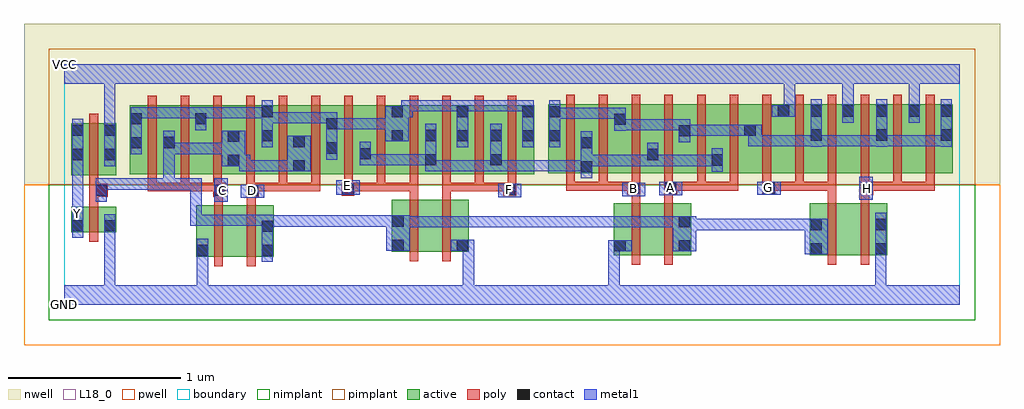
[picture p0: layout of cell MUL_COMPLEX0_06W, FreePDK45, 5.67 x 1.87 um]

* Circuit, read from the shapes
.subckt MUL_COMPLEX0_06W A B C D E F G GND H VCC Y
M1 GND n1 Y VSUBS nfet w=0.15u l=0.05u
M2 n2 C GND VSUBS nfet w=0.3u l=0.05u
M3 n1 D n2 VSUBS nfet w=0.3u l=0.05u
M4 n3 E n1 VSUBS nfet w=0.3u l=0.05u
M5 GND F n3 VSUBS nfet w=0.3u l=0.05u
M6 n4 B GND VSUBS nfet w=0.3u l=0.05u
M7 n1 A n4 VSUBS nfet w=0.3u l=0.05u
M8 n5 G n1 VSUBS nfet w=0.3u l=0.05u
M9 GND H n5 VSUBS nfet w=0.3u l=0.05u
M10 VCC n1 Y n6 pfet w=0.3u l=0.05u
M11 n1 C n7 n6 pfet w=0.4u l=0.05u m=3
M12 n7 D n1 n6 pfet w=0.4u l=0.05u m=3
M13 n8 E n7 n6 pfet w=0.4u l=0.05u m=3
M14 n7 F n8 n6 pfet w=0.4u l=0.05u m=3
M15 n8 B n9 n6 pfet w=0.4u l=0.05u m=3
M16 n9 A n8 n6 pfet w=0.4u l=0.05u m=3
M17 VCC G n9 n6 pfet w=0.4u l=0.05u m=3
M18 n9 H VCC n6 pfet w=0.4u l=0.05u m=3
.ends

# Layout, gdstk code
import gdstk
lib = gdstk.Library(unit=1e-6, precision=1e-09)
def R(c, l, rs):  # rectangles x0, y0, x1, y1
    for r in rs: c.add(gdstk.rectangle(r[:2], r[2:], *l))
def A(c, l, x, y, w, h, nx, ny, dx, dy):  # array of equal rectangles
    R(c, l, [(x+i*dx, y+j*dy, x+i*dx+w, y+j*dy+h) for i in range(nx) for j in range(ny)])
active = (1, 0)
pwell = (2, 0)
nwell = (3, 0)
nimplant = (4, 0)
pimplant = (5, 0)
poly = (9, 0)
contact = (10, 0)
metal1 = (11, 0)
L18_0 = (18, 0)
boundary = (235, 0)

mul_complex0_06w = lib.new_cell('MUL_COMPLEX0_06W')
A(mul_complex0_06w, active, 0.57, 0.76, 0.26, 0.4, 3, 1, 0.57, 0)
A(mul_complex0_06w, active, 1.515, 0.76, 0.27, 0.4, 3, 1, 0.38, 0)
A(mul_complex0_06w, active, 1.71, 0.76, 0.075, 0.31, 3, 1, 0.38, 0)
A(mul_complex0_06w, active, 1.895, 0.76, 0.075, 0.4, 3, 1, 0.38, 0)
R(mul_complex0_06w, active, [(0.765,0.28,0.84,0.58), (0.765,0.28,0.99,0.58), (0.99,0.28,1.215,0.58), (1.14,0.28,1.215,0.58), (3.19,0.29,3.265,0.59), (3.19,0.29,3.415,0.59), (3.415,0.29,3.64,0.59), (3.565,0.29,3.64,0.59), (4.33,0.29,4.405,0.59), (4.33,0.29,4.555,0.59), (4.555,0.29,4.78,0.59), (4.705,0.29,4.78,0.59), (1.9,0.31,1.975,0.61), (1.9,0.31,2.125,0.61), (2.125,0.31,2.35,0.61), (2.275,0.31,2.35,0.61), (0.04,0.422,0.115,0.572), (0.04,0.422,0.3,0.572), (0.225,0.422,0.3,0.572), (0.04,0.755,0.115,1.055), (0.04,0.755,0.3,1.055), (0.225,0.755,0.3,1.055), (0.38,0.76,0.645,1.16), (0.38,0.76,0.455,1.155), (0.57,0.76,0.645,1.07), (0.755,0.76,1.02,1.16), (0.755,0.76,0.83,1.155), (0.945,0.76,1.215,1.16), (0.945,0.76,1.02,1.07), (1.14,0.76,1.215,1.16), (1.325,0.76,1.59,1.16), (1.325,0.76,1.4,1.07), (1.515,0.76,1.59,1.155), (2.09,0.76,2.35,1.16), (2.47,0.76,2.73,1.16), (2.81,0.765,3.07,1.165), (2.81,0.765,2.885,1.16), (2.995,0.765,3.265,1.165), (2.995,0.765,3.07,1.07), (3.19,0.765,3.455,1.165), (3.38,0.765,3.64,1.165), (3.565,0.765,3.83,1.165), (3.755,0.765,4.02,1.165), (3.945,0.765,4.215,1.165), (4.14,0.765,4.405,1.165), (4.33,0.765,4.59,1.165), (4.515,0.765,4.785,1.165), (4.71,0.765,4.975,1.165), (4.9,0.765,5.16,1.165), (5.085,0.765,5.16,1.165), (3.755,0.805,3.83,1.07), (3.38,0.837,3.455,1.07), (3.19,0.907,3.265,1.155), (3.565,0.907,3.64,1.155), (3.945,0.907,4.02,1.165), (4.14,0.907,4.215,1.165), (4.33,0.907,4.405,1.165), (4.515,0.907,4.59,1.165), (4.71,0.907,4.785,1.165), (4.9,0.907,4.975,1.165)])
R(mul_complex0_06w, pwell, [(-0.235,-0.235,5.435,0.7)])
R(mul_complex0_06w, nwell, [(-0.235,0.7,5.435,1.635)])
R(mul_complex0_06w, nimplant, [(-0.09,-0.09,5.29,0.7)])
R(mul_complex0_06w, pimplant, [(-0.09,0.7,5.29,1.49)])
A(mul_complex0_06w, poly, 3.485, 0.64, 0.075, 0.075, 3, 1, 0.57, 0)
A(mul_complex0_06w, poly, 0.485, 0.66, 0.05, 0.095, 12, 1, 0.19, 0)
A(mul_complex0_06w, poly, 0.485, 0.66, 0.05, 0.05, 3, 1, 0.19, 0)
A(mul_complex0_06w, poly, 0.675, 0.66, 0.24, 0.05, 3, 1, 0.57, 0)
A(mul_complex0_06w, poly, 2.005, 0.66, 0.05, 0.05, 3, 1, 0.19, 0)
A(mul_complex0_06w, poly, 2.915, 0.665, 0.05, 0.095, 12, 1, 0.19, 0)
A(mul_complex0_06w, poly, 3.51, 0.665, 0.215, 0.05, 3, 1, 0.57, 0)
A(mul_complex0_06w, poly, 3.675, 0.665, 0.24, 0.05, 3, 1, 0.57, 0)
A(mul_complex0_06w, poly, 0.485, 0.705, 0.05, 0.51, 12, 1, 0.19, 0)
A(mul_complex0_06w, poly, 2.915, 0.71, 0.05, 0.51, 12, 1, 0.19, 0)
R(mul_complex0_06w, poly, [(0.87,0.225,0.92,0.635), (1.06,0.225,1.11,0.635), (3.295,0.235,3.345,0.645), (3.485,0.235,3.535,0.645), (4.435,0.235,4.485,0.645), (4.625,0.235,4.675,0.645), (2.005,0.255,2.055,0.665), (2.195,0.255,2.245,0.665), (0.145,0.367,0.195,0.627), (0.145,0.577,0.195,0.68), (0.87,0.585,0.92,0.68), (1.06,0.585,1.11,0.68), (3.295,0.595,3.345,0.69), (3.485,0.595,3.535,0.69), (4.435,0.595,4.485,0.715), (4.625,0.595,4.675,0.69), (2.005,0.615,2.055,0.71), (2.195,0.615,2.245,0.71), (0.145,0.63,0.252,0.705), (0.865,0.63,0.94,0.71), (1.055,0.63,1.13,0.71), (1.61,0.635,1.685,0.71), (2.55,0.635,2.625,0.71), (3.27,0.64,3.345,0.715), (0.145,0.655,0.195,0.75), (0.485,0.66,0.535,0.71), (0.485,0.66,0.535,0.71), (0.485,0.66,0.725,0.71), (0.865,0.66,0.915,0.71), (1.08,0.66,1.13,0.71), (1.08,0.66,1.13,0.71), (1.08,0.66,1.295,0.71), (1.245,0.66,1.295,0.71), (1.435,0.66,1.485,0.71), (1.435,0.66,1.485,0.71), (1.435,0.66,1.485,0.71), (1.635,0.66,1.685,0.71), (1.635,0.66,1.685,0.71), (1.635,0.66,1.865,0.71), (1.815,0.66,1.865,0.71), (2.005,0.66,2.055,0.71), (2.005,0.66,2.055,0.71), (2.195,0.66,2.435,0.71), (2.385,0.66,2.435,0.71), (2.385,0.66,2.435,0.71), (2.385,0.66,2.6,0.71), (2.55,0.66,2.6,0.71), (2.55,0.66,2.6,0.71), (2.915,0.665,2.965,0.715), (2.915,0.665,2.965,0.715), (2.915,0.665,2.965,0.715), (2.915,0.665,3.155,0.715), (3.105,0.665,3.155,0.715), (3.105,0.665,3.155,0.715), (3.105,0.665,3.155,0.715), (3.105,0.665,3.32,0.715), (3.51,0.665,3.56,0.715), (3.51,0.665,3.56,0.715), (3.675,0.665,3.725,0.715), (3.865,0.665,3.915,0.715), (3.865,0.665,3.915,0.715), (3.865,0.665,3.915,0.715), (4.08,0.665,4.13,0.715), (4.08,0.665,4.13,0.715), (4.245,0.665,4.295,0.715), (4.435,0.665,4.485,0.715), (4.435,0.665,4.485,0.715), (4.435,0.665,4.485,0.715), (4.65,0.665,4.7,0.715), (4.65,0.665,4.7,0.715), (4.815,0.665,4.865,0.715), (5.005,0.665,5.055,0.715), (5.005,0.665,5.055,0.715), (5.005,0.665,5.055,0.715), (0.145,0.7,0.195,1.11)])
A(mul_complex0_06w, contact, 3.49, 0.645, 0.065, 0.065, 3, 1, 0.57, 0)
A(mul_complex0_06w, contact, 1.9, 0.95, 0.065, 0.065, 3, 2, 0.38, 0.14)
R(mul_complex0_06w, contact, [(0.77,0.285,0.835,0.35), (1.145,0.285,1.21,0.35), (4.335,0.295,4.4,0.36), (4.71,0.295,4.775,0.36), (3.195,0.312,3.26,0.377), (3.57,0.312,3.635,0.377), (1.905,0.315,1.97,0.38), (2.28,0.315,2.345,0.38), (1.145,0.425,1.21,0.49), (0.045,0.427,0.11,0.492), (0.23,0.427,0.295,0.492), (4.335,0.435,4.4,0.5), (4.71,0.435,4.775,0.5), (3.57,0.452,3.635,0.517), (1.905,0.455,1.97,0.52), (0.182,0.635,0.247,0.7), (0.87,0.635,0.935,0.7), (1.06,0.635,1.125,0.7), (1.615,0.64,1.68,0.705), (2.555,0.64,2.62,0.705), (3.275,0.645,3.34,0.71), (3,0.77,3.065,0.835), (1.33,0.777,1.395,0.842), (0.95,0.807,1.015,0.872), (3.76,0.81,3.825,0.875), (2.095,0.812,2.16,0.877), (2.475,0.812,2.54,0.877), (0.045,0.842,0.11,0.907), (0.23,0.842,0.295,0.907), (3.385,0.842,3.45,0.907), (1.715,0.847,1.78,0.912), (1.52,0.88,1.585,0.945), (0.385,0.91,0.45,0.975), (3,0.91,3.065,0.975), (0.575,0.912,0.64,0.977), (1.33,0.917,1.395,0.982), (0.95,0.947,1.015,1.012), (1.145,0.95,1.21,1.015), (2.815,0.95,2.88,1.015), (2.095,0.952,2.16,1.017), (2.475,0.952,2.54,1.017), (4.335,0.955,4.4,1.02), (4.715,0.955,4.78,1.02), (5.09,0.955,5.155,1.02), (3.57,0.98,3.635,1.045), (0.045,0.982,0.11,1.047), (0.23,0.982,0.295,1.047), (3.95,0.982,4.015,1.047), (1.52,1.02,1.585,1.085), (3.195,1.047,3.26,1.112), (0.385,1.05,0.45,1.115), (0.76,1.05,0.825,1.115), (1.145,1.09,1.21,1.155), (2.815,1.09,2.88,1.155), (4.145,1.095,4.21,1.16), (4.335,1.095,4.4,1.16), (4.52,1.095,4.585,1.16), (4.715,1.095,4.78,1.16), (4.905,1.095,4.97,1.16), (5.09,1.095,5.155,1.16)])
R(mul_complex0_06w, metal1, [(0,0,5.2,0.115), (0.23,0.05,0.295,0.115), (0.23,0.05,0.295,0.115), (0.23,0.05,0.295,0.115), (0.23,0.05,0.295,0.115), (0.23,0.05,0.295,0.457), (0.77,0.05,0.835,0.115), (0.77,0.05,0.835,0.115), (0.77,0.05,0.835,0.115), (0.77,0.05,0.835,0.115), (0.77,0.05,0.835,0.315), (2.315,0.05,2.38,0.115), (2.315,0.05,2.38,0.115), (2.315,0.05,2.38,0.38), (3.16,0.05,3.225,0.115), (3.16,0.05,3.225,0.115), (3.16,0.05,3.225,0.115), (3.16,0.05,3.225,0.115), (3.16,0.05,3.225,0.377), (4.71,0.05,4.775,0.115), (4.71,0.05,4.775,0.115), (4.71,0.05,4.775,0.115), (4.71,0.05,4.775,0.115), (4.71,0.05,4.775,0.325), (0.77,0.25,0.835,0.385), (1.145,0.25,1.21,0.525), (4.71,0.26,4.775,0.535), (4.3,0.295,4.435,0.5), (3.16,0.312,3.295,0.377), (3.535,0.312,3.67,0.517), (1.87,0.315,2.005,0.52), (2.245,0.315,2.38,0.38), (2.315,0.315,2.38,0.38), (2.315,0.315,2.38,0.38), (0.045,0.392,0.11,0.527), (0.23,0.392,0.295,0.457), (0.23,0.392,0.295,0.457), (0.23,0.392,0.295,0.527), (3.605,0.435,3.67,0.5), (3.605,0.435,3.67,0.5), (3.605,0.435,3.807,0.5), (3.742,0.435,3.807,0.5), (3.742,0.435,3.825,0.5), (3.76,0.435,3.825,0.5), (3.76,0.435,3.962,0.5), (3.897,0.435,3.962,0.5), (3.897,0.435,3.962,0.5), (3.897,0.435,3.962,0.5), (3.897,0.435,4.227,0.5), (4.162,0.435,4.227,0.5), (4.162,0.435,4.227,0.5), (4.162,0.435,4.227,0.5), (4.162,0.435,4.365,0.5), (1.94,0.452,2.022,0.517), (1.957,0.452,2.022,0.517), (1.957,0.452,2.172,0.517), (2.107,0.452,2.172,0.517), (2.107,0.452,2.172,0.517), (2.107,0.452,2.172,0.517), (2.107,0.452,2.402,0.517), (2.337,0.452,2.402,0.517), (2.337,0.452,2.402,0.517), (2.337,0.452,2.402,0.517), (2.337,0.452,2.587,0.517), (2.522,0.452,2.587,0.517), (2.522,0.452,2.725,0.517), (2.66,0.452,2.725,0.517), (2.66,0.452,2.725,0.517), (2.66,0.452,2.725,0.517), (2.66,0.452,2.862,0.517), (2.797,0.452,2.862,0.517), (2.797,0.452,2.862,0.517), (2.797,0.452,2.862,0.517), (2.797,0.452,3.017,0.517), (2.952,0.452,3.017,0.517), (2.952,0.452,3.065,0.517), (3,0.452,3.065,0.517), (3,0.452,3.202,0.517), (3.137,0.452,3.202,0.517), (3.137,0.452,3.202,0.517), (3.137,0.452,3.202,0.517), (3.137,0.452,3.462,0.517), (3.397,0.452,3.462,0.517), (3.397,0.452,3.462,0.517), (3.397,0.452,3.462,0.517), (3.397,0.452,3.6,0.517), (1.145,0.455,1.347,0.52), (1.282,0.455,1.347,0.52), (1.282,0.455,1.347,0.52), (1.282,0.455,1.347,0.52), (1.282,0.455,1.497,0.52), (1.432,0.455,1.497,0.52), (1.432,0.455,1.497,0.52), (1.432,0.455,1.497,0.52), (1.432,0.455,1.722,0.52), (1.657,0.455,1.722,0.52), (1.657,0.455,1.722,0.52), (1.657,0.455,1.722,0.52), (1.657,0.455,1.86,0.52), (1.795,0.455,1.86,0.52), (1.795,0.455,1.935,0.52), (0.732,0.46,0.797,0.525), (0.732,0.46,0.797,0.735), (0.732,0.46,0.935,0.525), (0.87,0.46,0.935,0.525), (0.87,0.46,0.962,0.525), (0.897,0.46,0.962,0.525), (0.897,0.46,1.21,0.525), (1.145,0.46,1.21,0.525), (1.145,0.46,1.21,0.525), (0.045,0.462,0.11,0.527), (0.045,0.462,0.11,0.597), (0.045,0.532,0.11,0.872), (0.182,0.6,0.247,0.735), (0.87,0.6,0.95,0.735), (4.617,0.61,4.697,0.745), (1.025,0.622,1.16,0.7), (2.52,0.627,2.655,0.705), (3.24,0.632,3.375,0.71), (3.455,0.637,3.59,0.715), (1.58,0.64,1.715,0.725), (4.025,0.64,4.16,0.717), (0.182,0.67,0.247,0.735), (0.182,0.67,0.247,0.735), (0.182,0.67,0.502,0.735), (0.437,0.67,0.502,0.735), (0.437,0.67,0.502,0.735), (0.437,0.67,0.502,0.735), (0.437,0.67,0.64,0.735), (0.575,0.67,0.64,0.735), (0.575,0.67,0.797,0.735), (0.575,0.67,0.64,0.942), (0.732,0.67,0.797,0.735), (0.732,0.67,0.797,0.735), (0.732,0.67,0.797,0.735), (3,0.735,3.065,1.01), (3.76,0.775,3.825,0.91), (1.015,0.777,1.187,0.842), (1.015,0.777,1.08,0.872), (1.122,0.777,1.187,0.842), (1.122,0.777,1.36,0.842), (1.295,0.777,1.36,0.842), (1.295,0.777,1.36,0.842), (1.295,0.777,1.43,0.982), (2.095,0.777,2.16,0.842), (2.095,0.777,2.16,0.842), (2.095,0.777,2.16,1.052), (2.095,0.777,2.402,0.842), (2.337,0.777,2.402,0.842), (2.337,0.777,2.402,0.842), (2.337,0.777,2.402,0.842), (2.337,0.777,2.54,0.842), (2.475,0.777,2.54,1.052), (2.475,0.777,2.725,0.842), (2.66,0.777,2.725,0.842), (2.66,0.777,2.725,0.842), (2.66,0.777,2.725,0.842), (2.66,0.777,2.862,0.842), (2.797,0.777,2.862,0.842), (2.797,0.777,2.862,0.842), (2.797,0.777,2.862,0.842), (2.797,0.777,3.065,0.842), (0.045,0.807,0.11,1.082), (0.23,0.807,0.295,1.082), (0.915,0.807,1.05,1.012), (0.985,0.807,1.08,0.872), (3,0.807,3.065,0.872), (3,0.807,3.065,0.872), (3,0.807,3.282,0.872), (3.217,0.807,3.282,0.872), (3.217,0.807,3.282,0.872), (3.217,0.807,3.282,0.872), (3.217,0.807,3.45,0.872), (3.385,0.807,3.45,0.872), (3.385,0.807,3.45,0.872), (3.385,0.807,3.45,0.942), (3.385,0.807,3.67,0.872), (3.605,0.807,3.67,0.872), (3.605,0.807,3.67,0.872), (3.605,0.807,3.67,0.872), (3.605,0.807,3.825,0.872), (1.715,0.812,1.78,0.947), (1.715,0.812,1.885,0.877), (1.82,0.812,1.885,0.877), (1.82,0.812,2.022,0.877), (1.957,0.812,2.022,0.877), (1.957,0.812,2.022,0.877), (1.957,0.812,2.022,0.877), (1.957,0.812,2.16,0.877), (1.52,0.845,1.585,1.12), (0.385,0.875,0.45,1.15), (0.575,0.877,0.64,0.942), (0.575,0.877,0.64,0.942), (0.575,0.877,0.64,1.012), (0.575,0.877,0.777,0.942), (0.712,0.877,0.777,0.942), (0.712,0.877,0.942,0.942), (0.877,0.877,0.942,0.942), (0.877,0.877,0.98,0.942), (1.145,0.915,1.21,1.19), (2.28,0.915,2.345,1.19), (2.66,0.915,2.725,1.19), (2.815,0.915,2.88,1.19), (4.335,0.92,4.4,1.195), (4.715,0.92,4.78,1.195), (5.09,0.92,5.155,1.195), (3.972,0.922,4.037,0.987), (3.972,0.922,4.037,0.987), (3.972,0.922,4.037,0.987), (3.972,0.922,4.227,0.987), (3.972,0.922,4.037,1.047), (4.162,0.922,4.227,0.987), (4.162,0.922,4.4,0.987), (4.335,0.922,4.4,0.987), (4.335,0.922,4.4,0.987), (4.335,0.922,4.545,0.987), (4.48,0.922,4.545,0.987), (4.48,0.922,4.545,0.987), (4.48,0.922,4.545,0.987), (4.48,0.922,4.78,0.987), (4.715,0.922,4.78,0.987), (4.715,0.922,4.78,0.987), (4.715,0.922,4.917,0.987), (4.852,0.922,4.917,0.987), (4.852,0.922,5.017,0.987), (4.952,0.922,5.017,0.987), (4.952,0.922,5.155,0.987), (5.09,0.922,5.155,0.987), (5.09,0.922,5.155,0.987), (3.57,0.945,3.635,1.08), (1.865,0.95,2,1.155), (3.57,0.982,3.635,1.047), (3.57,0.982,3.635,1.047), (3.57,0.982,3.807,1.047), (3.742,0.982,3.807,1.047), (3.742,0.982,3.807,1.047), (3.742,0.982,3.807,1.047), (3.742,0.982,3.98,1.047), (3.915,0.982,4.05,1.047), (3.195,1.012,3.26,1.147), (0.76,1.015,0.825,1.15), (3.195,1.015,3.312,1.08), (3.247,1.015,3.312,1.08), (3.247,1.015,3.462,1.08), (3.397,1.015,3.462,1.08), (3.397,1.015,3.462,1.08), (3.397,1.015,3.462,1.08), (3.397,1.015,3.635,1.08), (0.23,1.017,0.295,1.082), (0.23,1.017,0.295,1.082), (0.23,1.017,0.295,1.35), (1.52,1.02,1.722,1.085), (1.657,1.02,1.722,1.085), (1.657,1.02,1.722,1.085), (1.657,1.02,1.722,1.085), (1.657,1.02,1.885,1.085), (1.82,1.02,1.885,1.085), (1.82,1.02,1.93,1.085), (1.145,1.055,1.347,1.12), (1.282,1.055,1.347,1.12), (1.282,1.055,1.347,1.12), (1.282,1.055,1.347,1.12), (1.282,1.055,1.497,1.12), (1.432,1.055,1.497,1.12), (1.432,1.055,1.585,1.12), (4.52,1.06,4.585,1.195), (4.905,1.06,4.97,1.195), (2.815,1.082,2.88,1.147), (2.815,1.082,2.88,1.147), (2.815,1.082,3.017,1.147), (2.952,1.082,3.017,1.147), (2.952,1.082,3.017,1.147), (2.952,1.082,3.017,1.147), (2.952,1.082,3.26,1.147), (0.385,1.085,0.45,1.15), (0.385,1.085,0.45,1.15), (0.385,1.085,0.64,1.15), (0.575,1.085,0.64,1.15), (0.575,1.085,0.64,1.15), (0.575,1.085,0.64,1.15), (0.575,1.085,0.825,1.15), (0.76,1.085,0.942,1.15), (0.877,1.085,0.942,1.15), (0.877,1.085,1.05,1.15), (0.985,1.085,1.05,1.15), (0.985,1.085,1.21,1.15), (1.145,1.085,1.21,1.15), (1.145,1.085,1.21,1.15), (1.935,1.09,2.022,1.155), (1.957,1.09,2.022,1.19), (4.11,1.095,4.245,1.16), (4.18,1.095,4.245,1.35), (1.957,1.125,2.172,1.19), (2.107,1.125,2.172,1.19), (2.107,1.125,2.172,1.19), (2.107,1.125,2.172,1.19), (2.107,1.125,2.345,1.19), (2.28,1.125,2.345,1.19), (2.28,1.125,2.345,1.19), (2.28,1.125,2.587,1.19), (2.522,1.125,2.587,1.19), (2.522,1.125,2.725,1.19), (2.66,1.125,2.725,1.19), (2.66,1.125,2.725,1.19), (4.52,1.13,4.585,1.35), (4.905,1.13,4.97,1.35), (0,1.285,5.2,1.4)])
R(mul_complex0_06w, L18_0, [(0,0,5.2,0.115), (0.23,0.05,0.295,0.115), (0.23,0.05,0.295,0.115), (0.23,0.05,0.295,0.115), (0.23,0.05,0.295,0.115), (0.23,0.05,0.295,0.457), (0.77,0.05,0.835,0.115), (0.77,0.05,0.835,0.115), (0.77,0.05,0.835,0.115), (0.77,0.05,0.835,0.115), (0.77,0.05,0.835,0.315), (2.315,0.05,2.38,0.115), (2.315,0.05,2.38,0.115), (2.315,0.05,2.38,0.38), (3.16,0.05,3.225,0.115), (3.16,0.05,3.225,0.115), (3.16,0.05,3.225,0.115), (3.16,0.05,3.225,0.115), (3.16,0.05,3.225,0.377), (4.71,0.05,4.775,0.115), (4.71,0.05,4.775,0.115), (4.71,0.05,4.775,0.115), (4.71,0.05,4.775,0.115), (4.71,0.05,4.775,0.325), (0.77,0.25,0.835,0.385), (4.71,0.26,4.775,0.535), (3.16,0.312,3.295,0.377), (2.245,0.315,2.38,0.38), (2.315,0.315,2.38,0.38), (2.315,0.315,2.38,0.38), (0.045,0.392,0.11,0.527), (0.23,0.392,0.295,0.527), (0.23,0.392,0.295,0.457), (0.23,0.392,0.295,0.457), (0.045,0.462,0.11,0.597), (0.045,0.462,0.11,0.527), (0.045,0.497,0.11,0.562), (0.045,0.532,0.11,0.872), (0.87,0.6,0.95,0.735), (4.617,0.61,4.697,0.745), (1.025,0.622,1.16,0.7), (2.52,0.627,2.655,0.705), (3.24,0.632,3.375,0.71), (0.885,0.635,0.95,0.7), (1.06,0.635,1.125,0.7), (3.455,0.637,3.59,0.715), (1.58,0.64,1.715,0.725), (2.555,0.64,2.62,0.705), (4.025,0.64,4.16,0.717), (3.275,0.645,3.34,0.71), (4.632,0.645,4.697,0.71), (3.49,0.65,3.555,0.715), (4.06,0.652,4.125,0.717), (1.615,0.66,1.68,0.725), (0.045,0.807,0.11,1.082), (0.23,0.807,0.295,1.082), (0.23,1.017,0.295,1.082), (0.23,1.017,0.295,1.082), (0.23,1.017,0.295,1.35), (4.52,1.06,4.585,1.195), (4.905,1.06,4.97,1.195), (4.11,1.095,4.245,1.16), (4.18,1.095,4.245,1.35), (4.52,1.13,4.585,1.35), (4.905,1.13,4.97,1.35), (0,1.285,5.2,1.4)])
R(mul_complex0_06w, boundary, [(0,0,5.2,1.4)])
mul_complex0_06w.add(gdstk.Label('A', (3.522,0.682), layer=11, texttype=0))
mul_complex0_06w.add(gdstk.Label('B', (3.307,0.677), layer=11, texttype=0))
mul_complex0_06w.add(gdstk.Label('C', (0.917,0.667), layer=11, texttype=0))
mul_complex0_06w.add(gdstk.Label('D', (1.092,0.667), layer=11, texttype=0))
mul_complex0_06w.add(gdstk.Label('E', (1.647,0.692), layer=11, texttype=0))
mul_complex0_06w.add(gdstk.Label('F', (2.587,0.672), layer=11, texttype=0))
mul_complex0_06w.add(gdstk.Label('G', (4.092,0.685), layer=11, texttype=0))
mul_complex0_06w.add(gdstk.Label('H', (4.665,0.677), layer=11, texttype=0))
mul_complex0_06w.add(gdstk.Label('Y', (0.077,0.53), layer=11, texttype=0))
mul_complex0_06w.add(gdstk.Label('VCC', (0,1.4), layer=11, texttype=0))
mul_complex0_06w.add(gdstk.Label('GND', (0,0), layer=11, texttype=0))

lib.write_gds('MUL_COMPLEX0_06W.gds')
